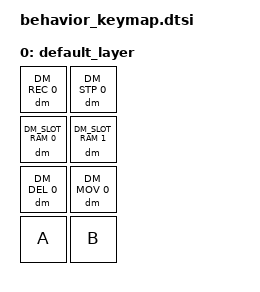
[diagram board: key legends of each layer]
#include <dt-bindings/zmk/keys.h>
#include <behaviors.dtsi>
#include <dt-bindings/zmk/kscan_mock.h>
#include <behaviors/dynamic_macro.dtsi>
#include <dt-bindings/zmk/dynamic_macros.h>

&kscan {
    rows = <4>;
    columns = <2>;
    exit-after;
};

/ {
    keymap {
        compatible = "zmk,keymap";
        default_layer {
            bindings = <
                &dm DM_REC 0        &dm DM_STP 0
                &dm DM_SLOT_RAM 0   &dm DM_SLOT_RAM 1
                &dm DM_DEL 0        &dm DM_MOV 0
                &kp A               &kp B
            >;
        };
    };
};
